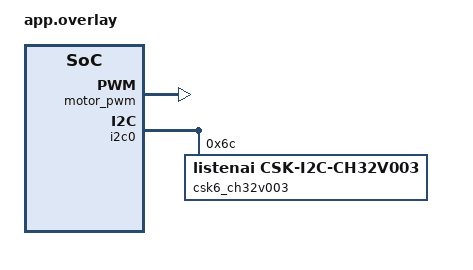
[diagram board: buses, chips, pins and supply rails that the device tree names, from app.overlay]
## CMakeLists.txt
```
# SPDX-License-Identifier: Apache-2.0

cmake_minimum_required(VERSION 3.20.0)

find_package(Zephyr REQUIRED HINTS $ENV{ZEPHYR_BASE})
project(gpio_led)

target_sources(app PRIVATE src/main.c)
```

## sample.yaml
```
sample:
  name: gpio_led Sample
tests:
  sample.board.csk6.drivers.exmcu.pwm:
    platform_allow: csk6_duomotai_devkit
    tags:
      - LED
      - gpio
    filter: dt_enabled_alias_with_parent_compat("led0", "gpio-leds")
    depends_on: gpio
    harness: led
```

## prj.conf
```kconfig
CONFIG_GPIO=y
CONFIG_PWM=y
CONFIG_PWM_CSK6=n
CONFIG_PWM_CSK6_CH32V003=y
CONFIG_LOG=y
CONFIG_I2C=y
CONFIG_ZTEST=y
CONFIG_TEST_USERSPACE=y
CONFIG_PWM_CSK6=n
```

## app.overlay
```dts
&i2c0 {
    status = "okay";
    pinctrl-0 = <&pinctrl_i2c0_scl_default &pinctrl_i2c0_sda_default>;
    pinctrl-names = "default";
    csk6_ch32v003: csk6_ch32v003@6c {
        /**
         * Please make sure that the external MCU firmware has been loaded
         * SCL --> external MCU PC5
         * SDA --> external MCU PC6
         */
        compatible = "listenai,csk-i2c-ch32v003";
        reg = <0x6c>;
        status = "okay";
        #address-cells = <1>;
        #size-cells = <0>;

        expwm: pwm-controller@0 {
            compatible = "listenai,csk-ch32v003-pwm";
            reg = <0>;
            status = "okay";
            clock-prescaler = <4800>;
            clock-frequency = <48000000>;
            #pwm-cells = <4>;
        };
    };
};

/ {
    motor {
        motor_pwm: motor_pwm {
            compatible = "vnd,phandle-holder";
            status = "okay";
            pwms = <&expwm 0 1000 0x0 100>;
        };
    };

    aliases {
        csk6-exmcu = &csk6_ch32v003;
    };
};
```

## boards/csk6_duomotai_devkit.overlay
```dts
/{
    motor {
        motor_pwm: motor_pwm {
            compatible = "vnd,phandle-holder";
            status = "okay";
            pwms = <&expwm 0 1000 0x0 100>;
        };
    };
};
```

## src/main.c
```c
/*
 * Copyright (c) 2023 Anhui(Shenzhen) Listenai Co., Ltd.
 *
 * SPDX-License-Identifier: Apache-2.0
 */

#include <zephyr/device.h>
#include <zephyr/devicetree.h>
#include <zephyr/drivers/gpio.h>
#include <zephyr/drivers/pwm.h>
#include <zephyr/kernel.h>
#include <zephyr/ztest.h>

ZTEST(exmcu_pwd_test, test_exmcu_pwm_api)
{
	int err;
	const struct pwm_dt_spec spec = PWM_DT_SPEC_GET(DT_NODELABEL(motor_pwm));

	zassert_true(device_is_ready(spec.dev), "device: %s is not ready", spec.dev->name);

	err = pwm_set_dt(&spec, 1000 * 1000 * 1000, 500 * 1000 * 1000);
	zassert_ok(err, "pwm set dt failed, r:%d", err);
}

ZTEST_SUITE(exmcu_pwd_test, NULL, NULL, NULL, NULL, NULL);
```
